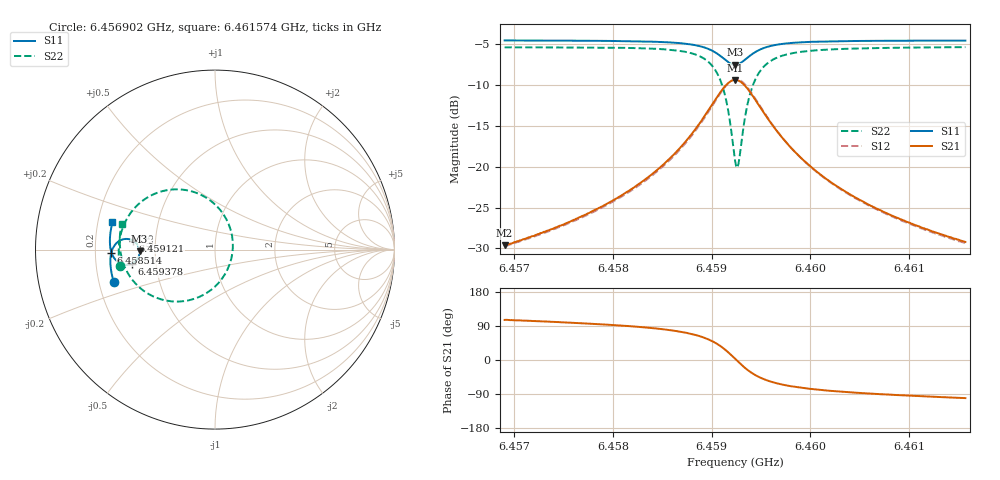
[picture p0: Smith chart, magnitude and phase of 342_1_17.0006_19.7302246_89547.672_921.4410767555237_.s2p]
#  HZ  S  RI  R  50.00
! Rohde & Schwarz Vector Network Analyzer
! Rohde-Schwarz,ZNB20-2Port,1311601062101988,3.16
! Created: UTC 3/20/2024, 11:07:21 PM
! freq[Hz]  re:S11  im:S11  re:S21  im:S21  re:S12  im:S12  re:S22  im:S22
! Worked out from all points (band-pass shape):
!   401 points, 6.456902 GHz to 6.461574 GHz, reference 50 ohm
!   highest |S21| = -9.38 dB at 6.459238 GHz (marker M1); lowest = -29.6 dB at 6.456902 GHz (marker M2)
!   |S21| within 3 dB of the highest: 6.459008 GHz to 6.459475 GHz (467.3 kHz wide, 0.00723 % of centre)
!   lowest |S11| = -7.5 dB at 6.459238 GHz (marker M3), VSWR 2.45, Z = 20.4 - j0.51 ohm
!   |S11| at or under -10 dB: nowhere
!   |S22| runs from -20.1 to -5.4 dB; largest |S21 - S12| = 0.013
!   S11 on the Smith chart (normalised r, x): 6.456902 GHz: 0.26, -0.14; 6.458514 GHz: 0.27, -0.02; 6.459121 GHz: 0.37, +0.05; 6.459378 GHz: 0.36, -0.07; 6.461574 GHz: 0.26, +0.12
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6.4569021e9  -0.5649 -0.178  -0.009 0.0318  -0.00743 0.0318  -0.5299 -0.0907
6.4576847e9  -0.5797 -0.11  -0.00607 0.0494  -0.00351 0.0488  -0.5365 -0.000664
6.4580934e9  -0.583 -0.0695  -0.00074 0.067  0.00229 0.0658  -0.53 0.062
6.4584672e9  -0.5798 -0.0256  0.013 0.0968  0.017 0.0941  -0.5052 0.1431
6.4585139e9  -0.5785 -0.0192  0.0162 0.1021  0.0202 0.0992  -0.4991 0.156
6.4587358e9  -0.5658 0.0145  0.0437 0.1353  0.0478 0.1306  -0.4484 0.2312
6.4588877e9  -0.5437 0.0409  0.0872 0.1655  0.0905 0.159  -0.3684 0.2952
6.4590278e9  -0.5013 0.0592  0.1719 0.1832  0.1726 0.1759  -0.2151 0.3358
6.4591213e9  -0.4573 0.0505  0.2599 0.1548  0.2598 0.1491  -0.0529 0.2916
6.459168e9  -0.436 0.0326  0.3037 0.1142  0.3044 0.1094  0.0296 0.2203
6.4592381e9  -0.4201 -0.0103  0.339 0.0204  0.3425 0.0142  0.0988 0.0475
6.4592614e9  -0.4213 -0.026  0.3381 -0.0146  0.3417 -0.0219  0.097 -0.018
6.4592731e9  -0.4231 -0.0337  0.335 -0.0315  0.3388 -0.0397  0.091 -0.0501
6.4593315e9  -0.4429 -0.0651  0.2992 -0.104  0.301 -0.1155  0.0195 -0.1862
6.4593782e9  -0.4651 -0.0794  0.2569 -0.141  0.2559 -0.1536  -0.0654 -0.2526
6.4594716e9  -0.5071 -0.0835  0.1751 -0.1671  0.1692 -0.178  -0.227 -0.2893
6.4596235e9  -0.5487 -0.0624  0.092 -0.152  0.084 -0.1579  -0.3846 -0.2385
6.459787e9  -0.5691 -0.0348  0.0495 -0.1249  0.0422 -0.1276  -0.4604 -0.1683
6.4600206e9  -0.5811 -0.00102  0.0224 -0.0956  0.0169 -0.0964  -0.5048 -0.0917
6.4603359e9  -0.5855 0.0364  0.00741 -0.0714  0.00336 -0.0709  -0.5254 -0.0197
6.4608031e9  -0.5837 0.0834  -0.0012 -0.051  -0.00397 -0.0501  -0.5307 0.0547
6.461574e9  -0.5713 0.1515  -0.00634 -0.0341  -0.00801 -0.0332  -0.5194 0.1447
